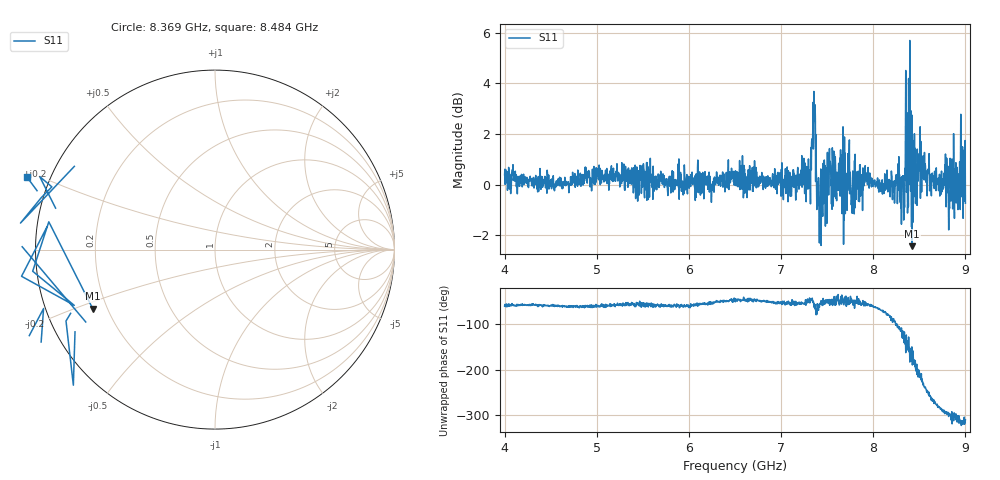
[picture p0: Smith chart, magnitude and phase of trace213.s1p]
! Created with skrf 1.8.0 (http://scikit-rf.org).
# Hz S RI R 50.0
!freq ReS11 ImS11
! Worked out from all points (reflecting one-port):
!   1601 points, 4 GHz to 9 GHz, reference 50 ohm
!   lowest |S11| = -2.4 dB at 8.422 GHz (marker M1), VSWR 7.21, Z = 7.29 - j11.2 ohm
!   phase of S11 starts at -59 deg and turns -251 deg over the sweep
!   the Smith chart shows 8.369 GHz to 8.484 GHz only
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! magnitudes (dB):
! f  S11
! 4 GHz  0.4
! 4.625 GHz  -0.2
! 5.25 GHz  -0.1
! 5.875 GHz  0.0
! 6.5 GHz  0.3
! 7.125 GHz  0.2
! 7.294 GHz  0.1
! 7.316 GHz  0.2
! 7.347 GHz  3.2
! 7.369 GHz  3.2
! 7.412 GHz  -1.5
! 7.525 GHz  1.4
! 7.75 GHz  0.5
! 7.769 GHz  -0.8
! 7.856 GHz  0.6
! 8.262 GHz  -0.7
! 8.316 GHz  0.2
! 8.334 GHz  -0.4
! 8.356 GHz  1.0
! 8.375 GHz  -0.7
! 8.422 GHz  -2.4
! 8.441 GHz  1.7
! 8.516 GHz  1.7
! 8.638 GHz  0.3
! 8.788 GHz  0.0
! 8.812 GHz  0.5
! 8.972 GHz  0.7
! 9 GHz  -0.7
